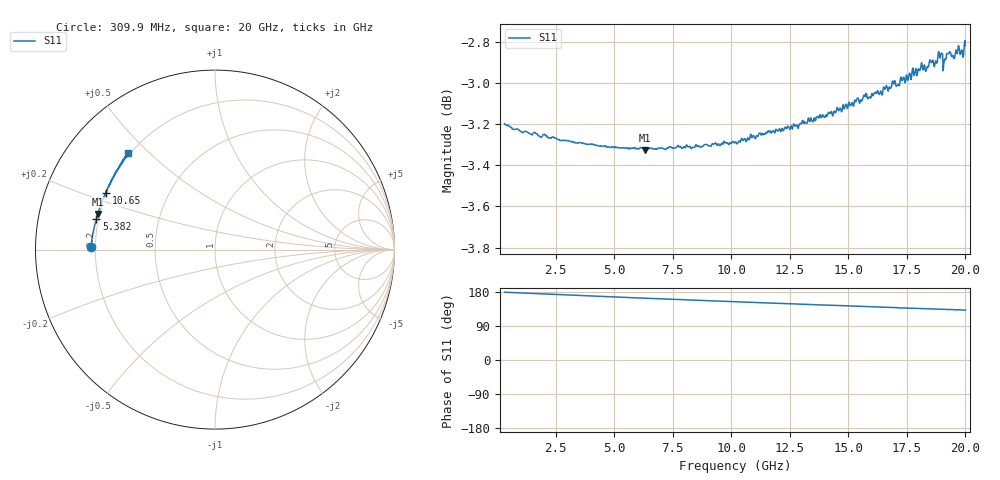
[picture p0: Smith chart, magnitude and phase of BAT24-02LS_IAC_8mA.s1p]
! Infineon Technologies  Discrete & RF Semiconductors
! BAT24-02LS
! IAC = 8 mA
! One-Port S-Parameters
# Hz  S  MA  R  50
!f  S11
!Hz  Mag  Ang
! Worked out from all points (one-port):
!   789 points, 309.9 MHz to 20 GHz, reference 50 ohm
!   lowest |S11| = -3.3 dB at 6.307 GHz (marker M1), VSWR 5.29, Z = 9.66 + j7.18 ohm
!   |S11| at or under -10 dB: nowhere
!   S11 on the Smith chart (normalised r, x): 309.9 MHz: 0.18, +0.01; 5.382 GHz: 0.19, +0.12; 10.65 GHz: 0.20, +0.23; 20 GHz: 0.19, +0.43
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3.0985e8  0.692 178.9
2.783612e9  0.6857 172.1
5.232388e9  0.6826 165.7
5.382312e9  0.6828 165.3
6.30685e9  0.6819 163.1
7.70615e9  0.6835 159.7
1.015492e10  0.6847 153.8
1.065468e10  0.6853 152.6
1.262869e10  0.6909 148.1
1.507746e10  0.6989 142.8
1.657671e10  0.7058 139.3
1.677661e10  0.7058 138.7
1.695152e10  0.7077 138.4
1.715142e10  0.7072 137.8
1.732634e10  0.7094 137.4
1.755122e10  0.7091 136.9
1.82009e10  0.713 135.6
1.837581e10  0.7146 135.1
1.855072e10  0.716 134.9
1.875062e10  0.7165 134.4
1.895052e10  0.7194 134.1
1.912544e10  0.7176 133.7
1.932534e10  0.7205 133.2
1.957521e10  0.7198 132.4
1.967516e10  0.7212 132.3
1.982509e10  0.7209 132.1
1.987506e10  0.7198 132.2
2e10  0.7229 131.9
